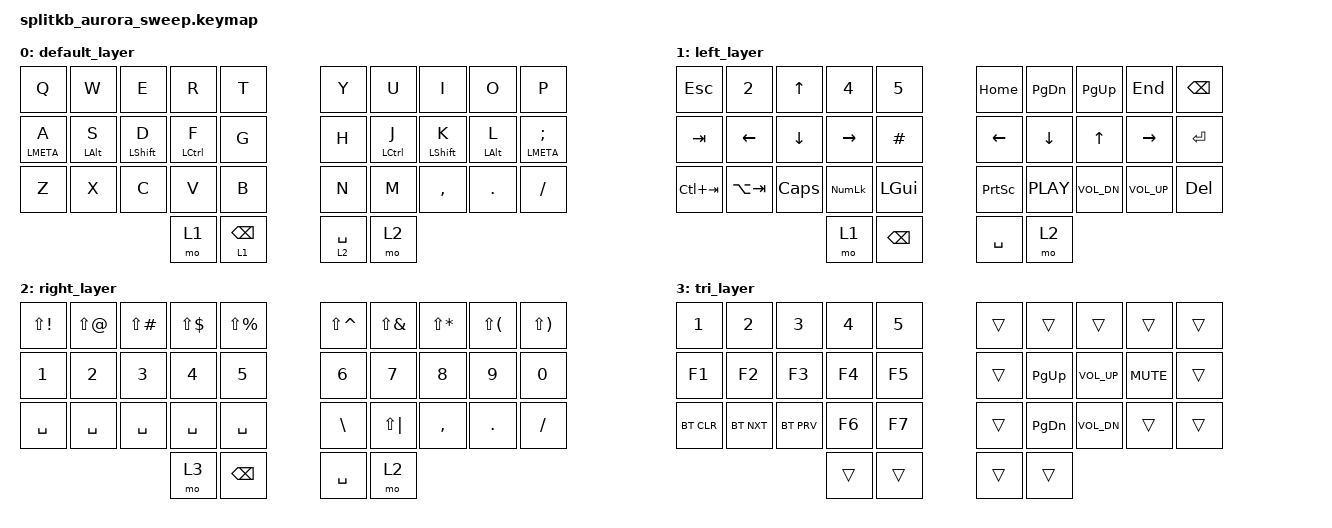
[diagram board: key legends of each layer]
/*
 * Copyright (c) 2022 The ZMK Contributors
 *
 * SPDX-License-Identifier: MIT
 */

#include <behaviors.dtsi>
#include <dt-bindings/zmk/bt.h>
#include <dt-bindings/zmk/keys.h>

&mt {
    flavor = "tap-preferred";
    tapping-term-ms = <200>; // how long a key must be pressed to trigger the "hold" behavior
    quick-tap-ms = <200>; // trigger tap again when pressing within x ms
    require-prior-idle-ms = <125>; // resolve to taps immediately when typing at speed
};

/ {
    combos {
        compatible = "zmk,combos";

        combo_esc {
            timeout-ms = <50>;
            key-positions = <11 12>;
            bindings = <&kp ESC>;
        };

        combo_tab {
            timeout-ms = <50>;
            key-positions = <12 13>;
            bindings = <&kp TAB>;
        };

        combo_bkspc {
            bindings = <&kp BACKSPACE>;
            key-positions = <17 18>;
        };

        combo_enter {
            bindings = <&kp ENTER>;
            key-positions = <16 17>;
        };

        combo_l_par {
            bindings = <&kp LPAR>;
            key-positions = <3 13>;
        };

        combo_rpar {
            bindings = <&kp RPAR>;
            key-positions = <6 16>;
        };

        combo_lbkt {
            bindings = <&kp LBKT>;
            key-positions = <4 14>;
        };

        combo_rbkt {
            bindings = <&kp RBKT>;
            key-positions = <5 15>;
        };

        combo_lbrc {
            bindings = <&kp LBRC>;
            key-positions = <14 24>;
        };

        combo_rbrc {
            bindings = <&kp RBRC>;
            key-positions = <15 25>;
        };

        combo_dqt {
            bindings = <&kp DQT>;
            key-positions = <2 12>;
        };

        combo_sqt {
            bindings = <&kp SQT>;
            key-positions = <1 11>;
        };

        combo_under {
            bindings = <&kp UNDER>;
            key-positions = <7 17>;
        };

        combo_minus {
            bindings = <&kp MINUS>;
            key-positions = <8 18>;
        };

        combo_eq {
            bindings = <&kp EQUAL>;
            key-positions = <8 9>;
        };

        combo_plus {
            bindings = <&kp PLUS>;
            key-positions = <8 7>;
        };

        combo_grave {
            bindings = <&kp GRAVE>;
            key-positions = <1 0>;
        };

        combo_tilde {
            bindings = <&kp TILDE>;
            key-positions = <1 2>;
        };

        combo_caps {
            bindings = <&kp CAPS>;
            key-positions = <12 17>;
        };
    };

    keymap {
        compatible = "zmk,keymap";

        default_layer {
            bindings = <
&kp Q        &kp W            &kp E        &kp R        &kp T    &kp Y  &kp U        &kp I        &kp O        &kp P
&mt LMETA A  &mt LALT S       &mt LSHFT D  &mt LCTRL F  &kp G    &kp H  &mt LCTRL J  &mt LSHFT K  &mt LALT L   &mt LMETA SEMI
&kp Z        &kp X            &kp C        &kp V        &kp B    &kp N  &kp M        &kp COMMA    &kp DOT      &kp FSLH
&mo 1        &lt 1 BACKSPACE                                                                      &lt 2 SPACE  &mo 2
            >;
        };

        left_layer {
            bindings = <
&kp ESC      &kp N2         &kp UP    &kp N4          &kp N5      &kp HOME         &kp PG_DN   &kp PG_UP     &kp END       &kp BSPC
&kp TAB      &kp LEFT       &kp DOWN  &kp RIGHT       &kp HASH    &kp LEFT         &kp DOWN    &kp UP        &kp RIGHT     &kp RET
&kp LC(TAB)  &kp LA(TAB)    &kp CAPS  &kp KP_NUMLOCK  &kp LGUI    &kp PRINTSCREEN  &kp C_PLAY  &kp C_VOL_DN  &kp C_VOL_UP  &kp DEL
&mo 1        &kp BACKSPACE                                                                                   &kp SPACE     &mo 2
            >;
        };

        right_layer {
            bindings = <
&kp LS(EXCL)  &kp LS(AT)  &kp LS(POUND)  &kp LS(DLLR)  &kp LS(PRCNT)    &kp LS(CARET)  &kp LS(AMPS)  &kp LS(STAR)  &kp LS(LPAR)  &kp LS(RPAR)
&kp N1        &kp N2      &kp N3         &kp N4        &kp N5           &kp N6         &kp N7        &kp N8        &kp N9        &kp N0
&kp SPACE     &kp SPACE   &kp SPACE      &kp SPACE     &kp SPACE        &kp BSLH       &kp LS(PIPE)  &kp COMMA     &kp DOT       &kp FSLH
&mo 3         &kp BSPC                                                                                             &kp SPACE     &mo 2
            >;
        };

        tri_layer {
            bindings = <
&kp N1      &kp N2      &kp N3      &kp N4  &kp N5    &trans  &trans     &trans        &trans      &trans
&kp F1      &kp F2      &kp F3      &kp F4  &kp F5    &trans  &kp PG_UP  &kp K_VOL_UP  &kp K_MUTE  &trans
&bt BT_CLR  &bt BT_NXT  &bt BT_PRV  &kp F6  &kp F7    &trans  &kp PG_DN  &kp K_VOL_DN  &trans      &trans
&trans      &trans                                                                     &trans      &trans
            >;
        };
    };
};
